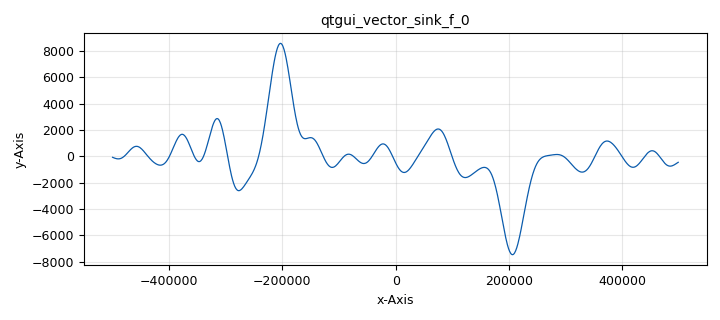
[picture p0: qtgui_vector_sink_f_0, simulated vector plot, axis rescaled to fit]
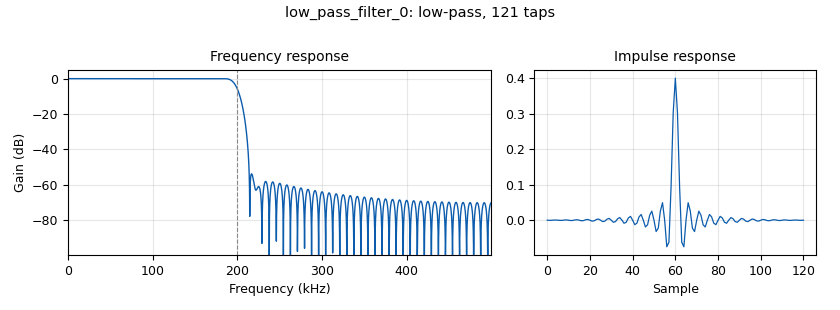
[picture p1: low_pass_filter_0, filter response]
options:
  parameters:
    generate_options: qt_gui
    id: practica1
    output_language: python
    title: Not titled yet
  states: {}

blocks:
- name: samp_rate
  id: variable
  parameters:
    value: '1000000'
  states: {}
- name: analog_noise_source_x_0
  id: analog_noise_source_x
  parameters:
    amp: '1'
    noise_type: analog.GR_GAUSSIAN
    seed: '0'
    type: complex
  states: {}
- name: analog_noise_source_x_1
  id: analog_noise_source_x
  parameters:
    amp: '0.1'
    noise_type: analog.GR_GAUSSIAN
    seed: '0'
    type: complex
  states: {}
- name: analog_sig_source_x_0
  id: analog_sig_source_x
  parameters:
    amp: '0.5'
    freq: '100000'
    offset: '0'
    phase: '0'
    samp_rate: samp_rate
    type: complex
    waveform: analog.GR_COS_WAVE
  states: {}
- name: analog_sig_source_x_0_0
  id: analog_sig_source_x
  parameters:
    amp: '0.5'
    freq: '-300000'
    offset: '0'
    phase: '0'
    samp_rate: samp_rate
    type: complex
    waveform: analog.GR_COS_WAVE
  states: {}
- name: blocks_add_xx_0
  id: blocks_add_xx
  parameters:
    num_inputs: '4'
    type: complex
  states: {}
- name: blocks_complex_to_mag_squared_0
  id: blocks_complex_to_mag_squared
  parameters:
    vlen: '1024'
  states: {}
- name: blocks_nlog10_ff_0
  id: blocks_nlog10_ff
  parameters:
    k: '0'
    n: '10'
    vlen: '1024'
  states: {}
- name: blocks_stream_to_vector_0
  id: blocks_stream_to_vector
  parameters:
    num_items: '1024'
    type: complex
  states: {}
- name: epy_block_0
  id: epy_block
  parameters:
    _source_code: |
      import numpy as np
      from gnuradio import gr

      class wavelet_edge_detector(gr.sync_block):
          def __init__(self, vector_length=1024, scale=20):
              gr.sync_block.__init__(self, name="Wavelet Edge Detector",
                  in_sig=[(np.float32, vector_length)],
                  out_sig=[(np.float32, vector_length)])
              self.vector_length = vector_length
              self.scale = scale

          def work(self, input_items, output_items):
              # input_items[0][0] es tu espectro S(n)
              s_n = input_items[0][0]
              
              # Creamos la Wavelet B-spline cúbica (simplificada para detección de bordes)
              # Una escala grande (j=10) significa un filtro de suavizado muy ancho
              # que resalta las transiciones lentas (banda ancha)
              
              # Simulamos la derivada de una Gaussiana (comportamiento similar a spline en bordes)
              points = np.arange(-self.vector_length//2, self.vector_length//2)
              wavelet = -points * np.exp(-(points**2) / (2 * (self.scale**2)))
              
              # Convolución para obtener los coeficientes wavelet d_j(n)
              # Esto es lo que ves en la Figura 6(b) del paper
              coeffs = np.convolve(s_n, wavelet, mode='same')
              
              output_items[0][0][:] = coeffs
              return len(output_items[0])
    scale: '20'
    vector_length: '1024'
  states: {}
- name: fft_vxx_0
  id: fft_vxx
  parameters:
    fft_size: '1024'
    forward: 'True'
    shift: 'True'
    type: complex
    window: window.blackmanharris(1024)
  states: {}
- name: low_pass_filter_0
  id: low_pass_filter
  parameters:
    cutoff_freq: '200000'
    decim: '1'
    gain: '1'
    samp_rate: samp_rate
    type: fir_filter_ccf
    width: '20000'
    win: window.WIN_HAMMING
  states: {}
- name: qtgui_vector_sink_f_0
  id: qtgui_vector_sink_f
  parameters:
    average: '0.2'
    vlen: '1024'
    x_start: '-500000'
    x_step: '976.5625'
    ymin: '0'
  states: {}

connections:
- [analog_noise_source_x_0, '0', low_pass_filter_0, '0']
- [analog_noise_source_x_1, '0', blocks_add_xx_0, '2']
- [analog_sig_source_x_0, '0', blocks_add_xx_0, '0']
- [analog_sig_source_x_0_0, '0', blocks_add_xx_0, '3']
- [blocks_add_xx_0, '0', blocks_stream_to_vector_0, '0']
- [blocks_complex_to_mag_squared_0, '0', blocks_nlog10_ff_0, '0']
- [blocks_nlog10_ff_0, '0', epy_block_0, '0']
- [blocks_stream_to_vector_0, '0', fft_vxx_0, '0']
- [epy_block_0, '0', qtgui_vector_sink_f_0, '0']
- [fft_vxx_0, '0', blocks_complex_to_mag_squared_0, '0']
- [low_pass_filter_0, '0', blocks_add_xx_0, '1']

metadata:
  file_format: 1
